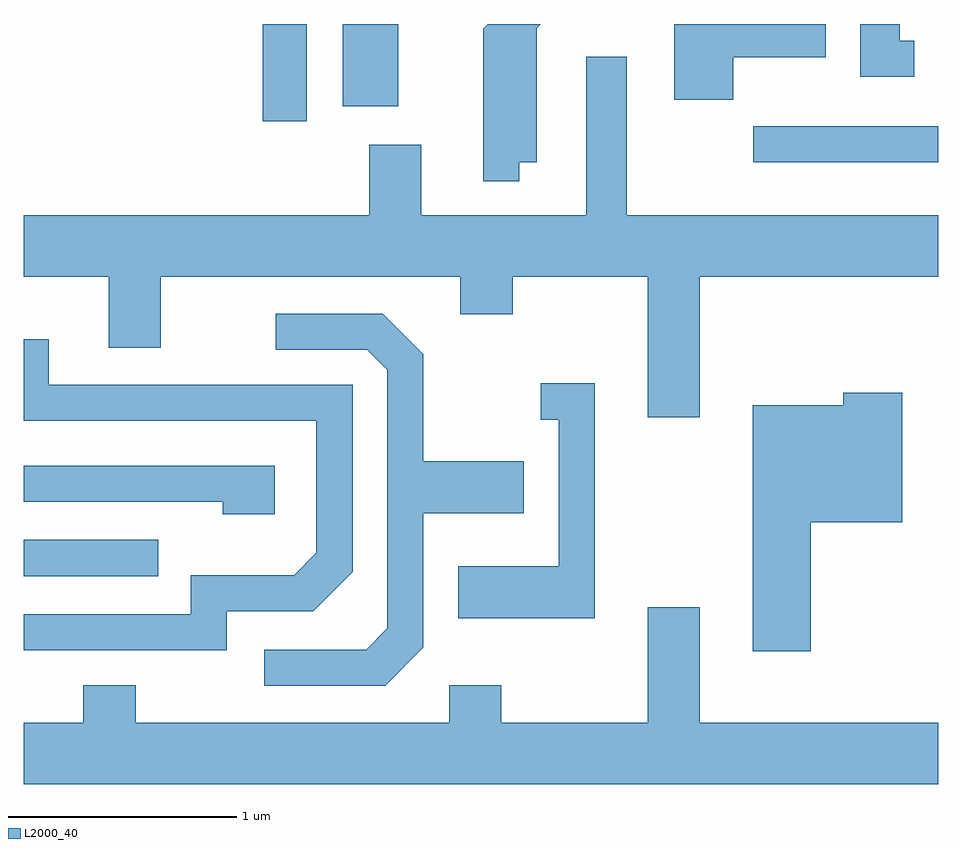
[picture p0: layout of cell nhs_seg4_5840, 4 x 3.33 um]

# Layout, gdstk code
import gdstk
lib = gdstk.Library(unit=1e-6, precision=1e-09)
def R(c, l, rs):  # rectangles x0, y0, x1, y1
    for r in rs: c.add(gdstk.rectangle(r[:2], r[2:], *l))
def P(c, l, *ps):  # polygons
    for p in ps: c.add(gdstk.Polygon(p, *l))
L2000_40 = (2000, 40)

nhs_seg4_5840 = lib.new_cell('nhs_seg4_5840')
R(nhs_seg4_5840, L2000_40, [(355.611,1375.566,356.198,1375.724), (358.803,1377.376,359.611,1377.534), (356.656,1377.556,356.849,1377.982), (357.006,1377.621,357.249,1377.982)])
P(nhs_seg4_5840, L2000_40, [(357.779,1377.376),(357.854,1377.376),(357.854,1377.964),(357.872,1377.982),(357.641,1377.982),(357.621,1377.962),(357.621,1377.293),(357.779,1377.293)],
  [(358.714,1377.836),(359.119,1377.836),(359.119,1377.982),(358.456,1377.982),(358.456,1377.651),(358.714,1377.651)],
  [(359.508,1377.909),(359.444,1377.909),(359.444,1377.982),(359.271,1377.982),(359.271,1377.751),(359.508,1377.751)],
  [(358.341,1376.261),(358.569,1376.261),(358.569,1376.876),(359.611,1376.876),(359.611,1377.144),(358.249,1377.144),(358.249,1377.839),(358.071,1377.839),(358.071,1377.144),(357.349,1377.144),(357.349,1377.454),(357.121,1377.454),(357.121,1377.144),(355.611,1377.144),(355.611,1376.876),(355.981,1376.876),(355.981,1376.566),(356.209,1376.566),(356.209,1376.876),(357.521,1376.876),(357.521,1376.711),(357.749,1376.711),(357.749,1376.876),(358.341,1376.876)],
  [(357.359,1375.254),(357.359,1375.841),(357.799,1375.841),(357.799,1376.069),(357.359,1376.069),(357.359,1376.537),(357.182,1376.714),(356.713,1376.714),(356.713,1376.556),(357.114,1376.556),(357.201,1376.469),(357.201,1375.337),(357.109,1375.244),(356.663,1375.244),(356.663,1375.086),(357.192,1375.086)],
  [(356.499,1375.411),(356.877,1375.411),(357.049,1375.584),(357.049,1376.404),(355.719,1376.404),(355.719,1376.603),(355.611,1376.603),(355.611,1376.246),(356.891,1376.246),(356.891,1375.667),(356.794,1375.569),(356.341,1375.569),(356.341,1375.399),(355.611,1375.399),(355.611,1375.241),(356.499,1375.241)],
  [(358.109,1376.409),(357.873,1376.409),(357.873,1376.251),(357.951,1376.251),(357.951,1375.609),(357.511,1375.609),(357.511,1375.381),(358.109,1375.381)],
  [(359.054,1375.801),(359.454,1375.801),(359.454,1376.369),(359.196,1376.369),(359.196,1376.314),(358.801,1376.314),(358.801,1375.236),(359.054,1375.236)],
  [(356.709,1376.049),(355.611,1376.049),(355.611,1375.891),(356.481,1375.891),(356.481,1375.836),(356.709,1375.836)],
  [(359.611,1374.924),(358.569,1374.924),(358.569,1375.429),(358.341,1375.429),(358.341,1374.924),(357.699,1374.924),(357.699,1375.089),(357.471,1375.089),(357.471,1374.924),(356.099,1374.924),(356.099,1375.089),(355.871,1375.089),(355.871,1374.924),(355.611,1374.924),(355.611,1374.656),(359.611,1374.656)])

lib.write_gds('nhs_seg4_5840.gds')
